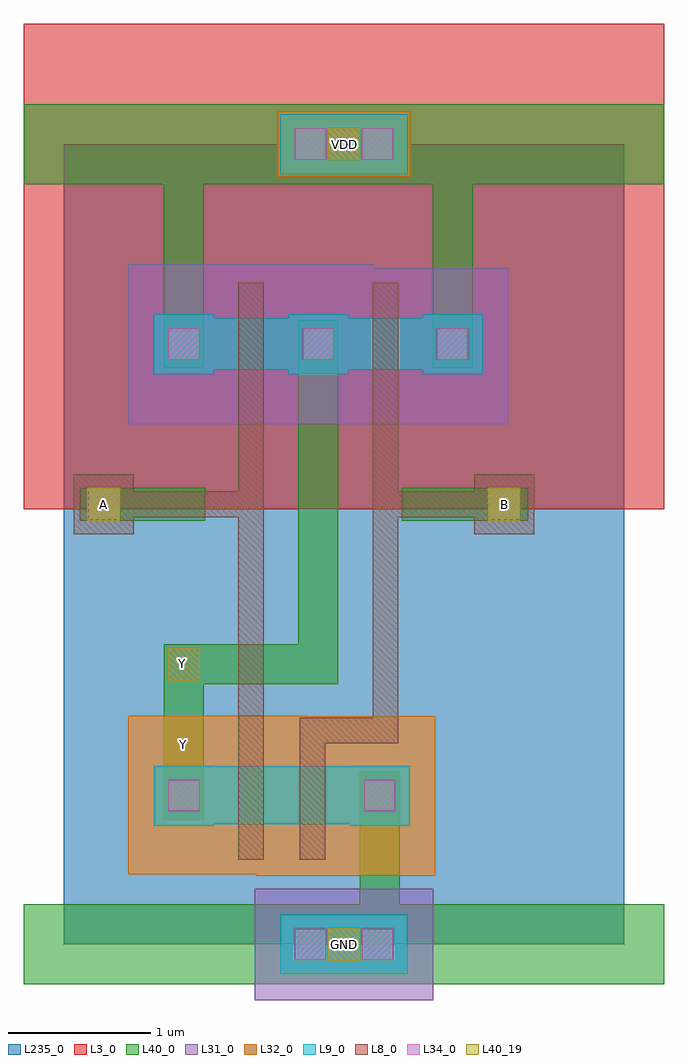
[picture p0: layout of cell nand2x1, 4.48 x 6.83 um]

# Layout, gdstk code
from math import pi, radians
import gdstk
lib = gdstk.Library(unit=1e-6, precision=1e-09)
def R(c, l, rs):  # rectangles x0, y0, x1, y1
    for r in rs: c.add(gdstk.rectangle(r[:2], r[2:], *l))
L3_0 = (3, 0)
L8_0 = (8, 0)
L9_0 = (9, 0)
L31_0 = (31, 0)
L32_0 = (32, 0)
L34_0 = (34, 0)
L40_0 = (40, 0)
L40_19 = (40, 19)
L235_0 = (235, 0)

nmos_18_cdns_78229582676 = lib.new_cell('nmos_18_CDNS_782295826760')
R(nmos_18_cdns_78229582676, L8_0, [(0.59,-0.24,0.77,0.01), (0.59,0.01,0.77,0.415), (0.59,0.415,0.77,0.665)])
R(nmos_18_cdns_78229582676, L9_0, [(0,0,0.42,0.42), (0.42,0.01,0.59,0.415), (0.59,0.01,0.77,0.415), (0.77,0.01,0.895,0.415)])
R(nmos_18_cdns_78229582676, L32_0, [(-0.18,-0.35,1.075,0.765)])
R(nmos_18_cdns_78229582676, L34_0, [(0.1,0.1,0.32,0.32)])
R(nmos_18_cdns_78229582676, L40_0, [(0.07,0.04,0.35,0.38)])
nmos_18_cdns_78229582676.add(gdstk.Label('[@instanceName]', (0.68,0.214), layer=77, texttype=7))

c_nmos_18_cdns_78229582676 = lib.new_cell('nmos_18_CDNS_782295826761')
R(c_nmos_18_cdns_78229582676, L8_0, [(0.59,-0.24,0.77,0.01), (0.59,0.01,0.77,0.415), (0.59,0.415,0.77,0.665)])
R(c_nmos_18_cdns_78229582676, L9_0, [(0.94,0,1.36,0.42), (0.465,0.01,0.59,0.415), (0.59,0.01,0.77,0.415), (0.77,0.01,0.94,0.415)])
R(c_nmos_18_cdns_78229582676, L32_0, [(0.285,-0.34,1.54,0.77)])
R(c_nmos_18_cdns_78229582676, L34_0, [(1.04,0.1,1.26,0.32)])
R(c_nmos_18_cdns_78229582676, L40_0, [(1.01,0.04,1.29,0.38)])
c_nmos_18_cdns_78229582676.add(gdstk.Label('[@instanceName]', (0.68,0.214), layer=77, texttype=7))

pmos_18_cdns_78229582676 = lib.new_cell('pmos_18_CDNS_782295826762')
R(pmos_18_cdns_78229582676, L3_0, [(-0.43,-0.43,1.37,0.85)])
R(pmos_18_cdns_78229582676, L8_0, [(0.59,-0.22,0.77,0.03), (0.59,0.03,0.77,0.39), (0.59,0.39,0.77,0.64)])
R(pmos_18_cdns_78229582676, L9_0, [(0,0,0.42,0.42), (0.42,0.03,0.59,0.39), (0.59,0.03,0.77,0.39), (0.77,0.03,0.94,0.39)])
R(pmos_18_cdns_78229582676, L31_0, [(-0.18,-0.35,1.12,0.74)])
R(pmos_18_cdns_78229582676, L34_0, [(0.1,0.1,0.32,0.32)])
R(pmos_18_cdns_78229582676, L40_0, [(0.07,0.04,0.35,0.38)])
pmos_18_cdns_78229582676.add(gdstk.Label('[@instanceName]', (0.68,0.212), layer=77, texttype=7))

c_pmos_18_cdns_78229582676 = lib.new_cell('pmos_18_CDNS_782295826763')
R(c_pmos_18_cdns_78229582676, L3_0, [(-0.43,-0.43,1.79,0.85)])
R(c_pmos_18_cdns_78229582676, L8_0, [(0.59,-0.22,0.77,0.03), (0.59,0.03,0.77,0.39), (0.59,0.39,0.77,0.64)])
R(c_pmos_18_cdns_78229582676, L9_0, [(0,0,0.42,0.42), (0.94,0,1.36,0.42), (0.42,0.03,0.59,0.39), (0.59,0.03,0.77,0.39), (0.77,0.03,0.94,0.39)])
R(c_pmos_18_cdns_78229582676, L31_0, [(-0.18,-0.35,1.54,0.77)])
R(c_pmos_18_cdns_78229582676, L34_0, [(0.1,0.1,0.32,0.32), (1.04,0.1,1.26,0.32)])
R(c_pmos_18_cdns_78229582676, L40_0, [(0.07,0.04,0.35,0.38), (1.01,0.04,1.29,0.38)])
c_pmos_18_cdns_78229582676.add(gdstk.Label('[@instanceName]', (0.68,0.212), layer=77, texttype=7))

m1_po_4x_cdns_7822958267 = lib.new_cell('M1_PO_4X_CDNS_782295826760')
R(m1_po_4x_cdns_7822958267, L8_0, [(-0.21,-0.21,0.21,0.21)])
R(m1_po_4x_cdns_7822958267, L34_0, [(-0.11,-0.11,0.11,0.11)])
R(m1_po_4x_cdns_7822958267, L40_0, [(-0.17,-0.115,0.17,0.115)])

m1_wn_cdns_782295826761 = lib.new_cell('M1_WN_CDNS_782295826761')
R(m1_wn_cdns_782295826761, L3_0, [(-0.625,-0.43,0.625,0.43)])
R(m1_wn_cdns_782295826761, L9_0, [(-0.445,-0.21,0.445,0.21)])
R(m1_wn_cdns_782295826761, L32_0, [(-0.465,-0.23,0.465,0.23)])
R(m1_wn_cdns_782295826761, L34_0, [(-0.345,-0.11,-0.125,0.11), (0.125,-0.11,0.345,0.11)])
R(m1_wn_cdns_782295826761, L40_0, [(-0.405,-0.17,0.405,0.17)])

ptap_lg_cdns_78229582676 = lib.new_cell('PTAP_LG_CDNS_782295826762')
R(ptap_lg_cdns_78229582676, L9_0, [(-0.445,-0.21,0.445,0.21)])
R(ptap_lg_cdns_78229582676, L31_0, [(-0.625,-0.39,0.625,0.39)])
R(ptap_lg_cdns_78229582676, L34_0, [(-0.345,-0.11,-0.125,0.11), (0.125,-0.11,0.345,0.11)])
R(ptap_lg_cdns_78229582676, L40_0, [(-0.405,-0.17,0.405,0.17)])

nand2x1 = lib.new_cell('nand2x1')
R(nand2x1, L3_0, [(-0.28,3.045,4.2,6.44)])
R(nand2x1, L40_0, [(-0.28,-0.28,4.2,0.28), (-0.28,5.32,4.2,5.88)])
R(nand2x1, L40_19, [(1.845,-0.115,2.075,0.115), (0.725,1.845,0.955,2.075), (0.165,2.965,0.395,3.195), (2.965,2.965,3.195,3.195), (1.845,5.485,2.075,5.715)])
R(nand2x1, L235_0, [(0,0,3.92,5.6)])
nand2x1.add(gdstk.FlexPath([(2.25,3.08),(3.08,3.08)], 0.18, ends=(0.09, 0), simple_path=True, layer=8, datatype=0))  # L8_0
nand2x1.add(gdstk.FlexPath([(1.74,1.495),(2.25,1.495)], 0.18, ends="extended", simple_path=True, layer=8, datatype=0))  # L8_0
nand2x1.add(gdstk.FlexPath([(1.31,3.08),(1.31,3.77)], 0.18, ends=(0.09, 0), simple_path=True, layer=8, datatype=0))  # L8_0
nand2x1.add(gdstk.FlexPath([(1.31,1.495),(1.31,3.08)], 0.18, ends=(0, 0.09), simple_path=True, layer=8, datatype=0))  # L8_0
nand2x1.add(gdstk.FlexPath([(1.31,3.08),(0.28,3.08)], 0.18, ends=(0.09, 0), simple_path=True, layer=8, datatype=0))  # L8_0
nand2x1.add(gdstk.FlexPath([(2.25,1.495),(2.25,3.08)], 0.18, ends="extended", simple_path=True, layer=8, datatype=0))  # L8_0
nand2x1.add(gdstk.FlexPath([(2.25,3.08),(2.25,3.77)], 0.18, ends=(0.09, 0), simple_path=True, layer=8, datatype=0))  # L8_0
nand2x1.add(gdstk.FlexPath([(3.08,3.08),(2.365,3.08)], 0.23, ends="flush", simple_path=True, layer=40, datatype=0))  # L40_0
nand2x1.add(gdstk.FlexPath([(0.84,4.2),(0.84,5.535)], 0.28, ends="flush", simple_path=True, layer=40, datatype=0))  # L40_0
nand2x1.add(gdstk.FlexPath([(2.72,4.2),(2.72,5.535)], 0.28, ends="flush", simple_path=True, layer=40, datatype=0))  # L40_0
nand2x1.add(gdstk.FlexPath([(2.21,0.87),(2.21,-0.28)], 0.28, ends="flush", simple_path=True, layer=40, datatype=0))  # L40_0
nand2x1.add(gdstk.FlexPath([(0.84,1.96),(0.84,1.21)], 0.28, ends=(0.14, 0), simple_path=True, layer=40, datatype=0))  # L40_0
nand2x1.add(gdstk.FlexPath([(1.78,4.03),(1.78,1.96)], 0.28, ends=(0, 0.14), simple_path=True, layer=40, datatype=0))  # L40_0
nand2x1.add(gdstk.FlexPath([(1.78,1.96),(0.84,1.96)], 0.28, ends="extended", simple_path=True, layer=40, datatype=0))  # L40_0
nand2x1.add(gdstk.FlexPath([(0.28,3.08),(0.99,3.08)], 0.23, ends="flush", simple_path=True, layer=40, datatype=0))  # L40_0
nand2x1.add(gdstk.Reference(nmos_18_cdns_78229582676, (2.42,0.83), rotation=pi, x_reflection=True))
nand2x1.add(gdstk.Reference(c_nmos_18_cdns_78229582676, (1.99,0.83), rotation=pi, x_reflection=True))
nand2x1.add(gdstk.Reference(pmos_18_cdns_78229582676, (2.93,3.99), rotation=pi, x_reflection=True))
nand2x1.add(gdstk.Reference(c_pmos_18_cdns_78229582676, (0.63,3.99)))
nand2x1.add(gdstk.Reference(m1_po_4x_cdns_7822958267, (0.28,3.08)))
nand2x1.add(gdstk.Reference(m1_po_4x_cdns_7822958267, (3.08,3.08)))
nand2x1.add(gdstk.Reference(m1_wn_cdns_782295826761, (1.96,5.6)))
nand2x1.add(gdstk.Reference(ptap_lg_cdns_78229582676, (1.96,0)))
nand2x1.add(gdstk.Label('Y', (0.84,1.4), layer=40, texttype=0))
nand2x1.add(gdstk.Label('GND', (1.96,0), layer=40, texttype=0))
nand2x1.add(gdstk.Label('B', (3.08,3.08), layer=40, texttype=0))
nand2x1.add(gdstk.Label('VDD', (1.96,5.6), layer=40, texttype=0))
nand2x1.add(gdstk.Label('A', (0.28,3.08), layer=40, texttype=0))
nand2x1.add(gdstk.Label('GND', (1.95,-0.005), layer=40, texttype=7))
nand2x1.add(gdstk.Label('VDD', (1.96,5.595), layer=40, texttype=7))
nand2x1.add(gdstk.Label('B', (3.09,3.065), layer=40, texttype=7))
nand2x1.add(gdstk.Label('A', (0.28,3.085), layer=40, texttype=7))
nand2x1.add(gdstk.Label('Y', (0.83,1.965), layer=40, texttype=7))

lib.write_gds('nand2x1.gds')
